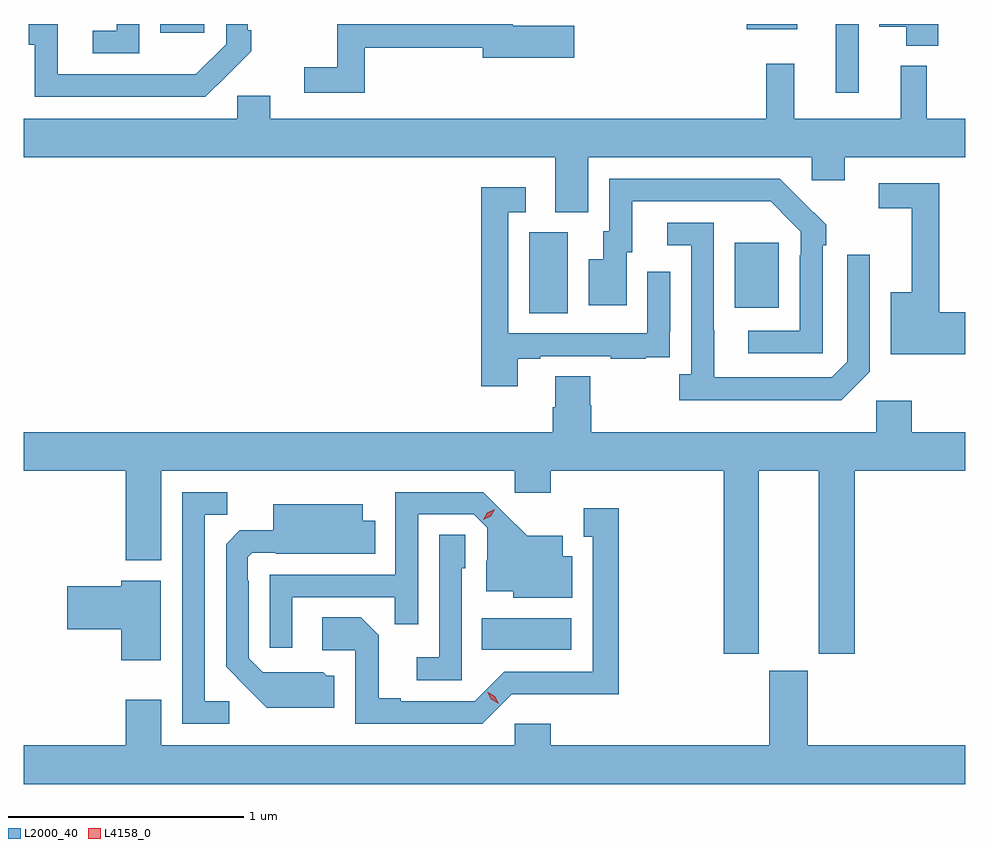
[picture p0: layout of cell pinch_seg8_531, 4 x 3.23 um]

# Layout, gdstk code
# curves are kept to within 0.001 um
import gdstk
lib = gdstk.Library(unit=1e-6, precision=1e-09)
def R(c, l, rs):  # rectangles x0, y0, x1, y1
    for r in rs: c.add(gdstk.rectangle(r[:2], r[2:], *l))
def P(c, l, *ps):  # polygons
    for p in ps: c.add(gdstk.Polygon(p, *l))
L2000_40 = (2000, 40)
L4158_0 = (4158, 0)

pinch_seg8_531 = lib.new_cell('pinch_seg8_531')
R(pinch_seg8_531, L2000_40, [(150.688,1115.738,151.069,1115.872), (150.89,1117.168,151.054,1117.512), (151.763,1117.193,151.951,1117.468), (152.192,1118.106,152.289,1118.398), (149.321,1118.361,149.509,1118.398), (151.814,1118.375,152.029,1118.398)])
P(pinch_seg8_531, L2000_40, [(152.627,1118.398),(152.378,1118.398),(152.378,1118.387),(152.492,1118.387),(152.492,1118.306),(152.627,1118.306)],
  [(149.603,1118.179),(149.604,1118.178),(149.709,1118.283),(149.709,1118.371),(149.694,1118.371),(149.694,1118.398),(149.601,1118.398),(149.601,1118.313),(149.473,1118.185),(149.369,1118.184),(148.885,1118.184),(148.885,1118.398),(148.763,1118.398),(148.763,1118.31),(148.788,1118.31),(148.788,1118.088),(149.512,1118.088)],
  [(149.232,1118.398),(149.136,1118.398),(149.136,1118.37),(149.034,1118.37),(149.034,1118.274),(149.232,1118.274)],
  [(150.191,1118.298),(150.692,1118.298),(150.692,1118.255),(151.081,1118.255),(151.081,1118.39),(150.82,1118.39),(150.82,1118.398),(150.074,1118.398),(150.074,1118.215),(149.934,1118.215),(149.934,1118.106),(150.191,1118.106)],
  [(151.141,1117.832),(152.091,1117.832),(152.091,1117.734),(152.23,1117.734),(152.23,1117.832),(152.742,1117.832),(152.742,1117.996),(152.578,1117.996),(152.578,1118.221),(152.468,1118.221),(152.468,1117.996),(152.015,1117.996),(152.015,1118.23),(151.897,1118.23),(151.897,1117.996),(149.788,1117.996),(149.788,1118.094),(149.649,1118.094),(149.649,1117.996),(148.742,1117.996),(148.742,1117.832),(151.001,1117.832),(151.001,1117.597),(151.141,1117.597)],
  [(152.136,1117.457),(152.151,1117.457),(152.151,1117.545),(151.954,1117.74),(151.23,1117.74),(151.23,1117.518),(151.205,1117.518),(151.205,1117.399),(151.142,1117.399),(151.142,1117.203),(151.303,1117.203),(151.303,1117.428),(151.327,1117.428),(151.327,1117.644),(151.915,1117.644),(152.043,1117.515),(152.043,1117.415),(152.04,1117.415),(152.04,1117.095),(151.821,1117.095),(151.821,1116.999),(152.136,1116.999)],
  [(152.742,1117.172),(152.633,1117.172),(152.633,1117.722),(152.376,1117.722),(152.376,1117.614),(152.516,1117.614),(152.516,1117.258),(152.426,1117.258),(152.426,1116.994),(152.742,1116.994)],
  [(150.841,1116.975),(150.937,1116.975),(150.937,1116.987),(151.237,1116.987),(151.237,1116.975),(151.385,1116.975),(151.385,1116.981),(151.487,1116.981),(151.487,1117.09),(151.488,1117.09),(151.488,1117.345),(151.392,1117.345),(151.392,1117.083),(150.801,1117.083),(150.801,1117.599),(150.874,1117.599),(150.874,1117.705),(150.685,1117.705),(150.685,1116.858),(150.841,1116.858)],
  [(152.337,1116.921),(152.337,1117.417),(152.241,1117.417),(152.241,1116.963),(152.175,1116.897),(151.675,1116.897),(151.674,1117.554),(151.476,1117.554),(151.476,1117.458),(151.578,1117.458),(151.578,1116.91),(151.527,1116.91),(151.527,1116.8),(152.216,1116.8)],
  [(151.864,1116.5),(152.12,1116.5),(152.12,1115.721),(152.273,1115.721),(152.273,1116.5),(152.742,1116.5),(152.742,1116.664),(152.516,1116.664),(152.516,1116.796),(152.364,1116.796),(152.364,1116.664),(151.154,1116.664),(151.154,1116.777),(151.149,1116.777),(151.149,1116.902),(151.001,1116.902),(151.001,1116.77),(150.989,1116.77),(150.989,1116.664),(148.742,1116.664),(148.742,1116.5),(149.174,1116.5),(149.174,1116.12),(149.326,1116.12),(149.326,1116.5),(150.828,1116.5),(150.828,1116.405),(150.98,1116.405),(150.98,1116.5),(151.717,1116.5),(151.717,1115.721),(151.864,1115.721)],
  [(149.614,1115.52),(149.511,1115.52),(149.511,1116.313),(149.607,1116.313),(149.607,1116.408),(149.415,1116.408),(149.415,1115.424),(149.614,1115.424)],
  [(149.883,1115.961),(150.319,1115.961),(150.319,1115.848),(150.417,1115.848),(150.417,1116.315),(150.654,1116.315),(150.711,1116.258),(150.711,1116.116),(150.707,1116.116),(150.707,1115.987),(150.822,1115.987),(150.822,1115.96),(151.072,1115.96),(151.072,1116.136),(151.033,1116.136),(151.033,1116.223),(150.881,1116.223),(150.694,1116.408),(150.321,1116.408),(150.321,1116.057),(149.787,1116.057),(149.787,1115.748),(149.883,1115.748)],
  [(150.061,1115.628),(150.03,1115.628),(150.014,1115.644),(149.757,1115.643),(149.697,1115.703),(149.697,1116.032),(149.694,1116.032),(149.694,1116.132),(149.712,1116.15),(149.812,1116.15),(149.812,1116.146),(150.236,1116.146),(150.236,1116.286),(150.181,1116.286),(150.181,1116.358),(149.801,1116.358),(149.801,1116.247),(149.66,1116.247),(149.601,1116.188),(149.601,1115.666),(149.773,1115.492),(150.061,1115.492)],
  [(150.816,1115.55),(151.271,1115.549),(151.271,1116.34),(151.121,1116.34),(151.121,1116.219),(151.16,1116.219),(151.16,1115.646),(150.783,1115.646),(150.657,1115.52),(150.343,1115.52),(150.343,1115.533),(150.249,1115.533),(150.249,1115.8),(150.173,1115.876),(150.009,1115.876),(150.009,1115.736),(150.15,1115.736),(150.15,1115.424),(150.69,1115.424)],
  [(150.603,1116.084),(150.618,1116.084),(150.618,1116.227),(150.507,1116.227),(150.507,1115.707),(150.411,1115.707),(150.411,1115.61),(150.603,1115.61)],
  [(149.323,1116.031),(149.156,1116.031),(149.156,1116.008),(148.926,1116.008),(148.926,1115.825),(149.156,1115.825),(149.156,1115.694),(149.323,1115.694)],
  [(152.742,1115.332),(152.074,1115.332),(152.074,1115.649),(151.91,1115.649),(151.91,1115.332),(150.98,1115.332),(150.98,1115.425),(150.828,1115.425),(150.828,1115.332),(149.326,1115.332),(149.326,1115.527),(149.174,1115.527),(149.174,1115.332),(148.742,1115.332),(148.742,1115.168),(152.742,1115.168)])
P(pinch_seg8_531, L4158_0, [(150.76,1115.509),(150.729,1115.528),(150.711,1115.56),(150.711,1115.56),(150.711,1115.56),(150.743,1115.542),(150.761,1115.51),(150.761,1115.509)],
  [(150.694,1116.291),(150.694,1116.292),(150.711,1116.321),(150.742,1116.336),(150.742,1116.336),(150.742,1116.336),(150.725,1116.307),(150.694,1116.291)])

lib.write_gds('pinch_seg8_531.gds')
